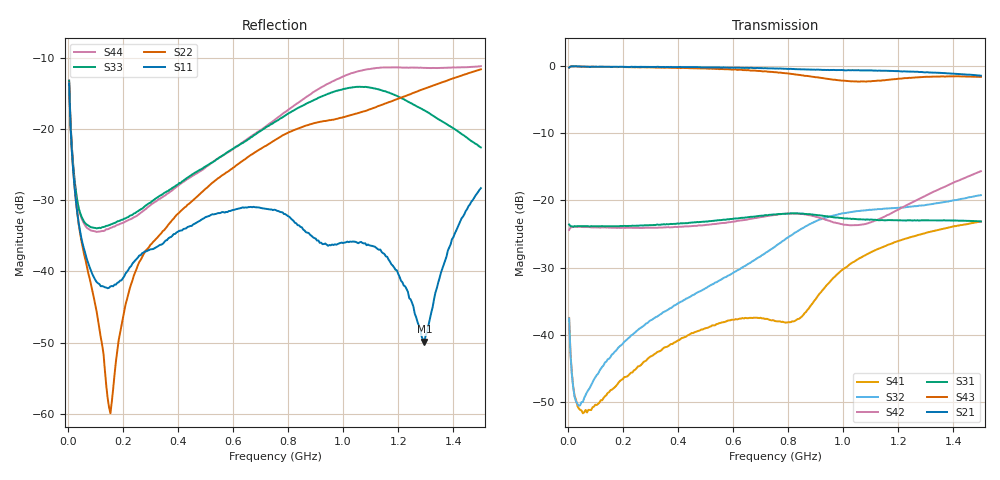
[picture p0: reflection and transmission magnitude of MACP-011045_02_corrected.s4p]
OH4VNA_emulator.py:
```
"""
OH4VNA_emulator.py

Assumptions:
 - Coupler port mapping:
     Port 1 = Input
     Port 2 = Output
     Port 3 = Coupled
     Port 4 = Isolated
 - Uses a real coupler touchstone file if supplied (path COUPLER_S4P)
"""
import numpy as np
import skrf as rf
import matplotlib.pyplot as plt
import pandas as pd

# ---------- USER CONFIG ----------

USE_CALIBRATION = True   # Set to True to enable OSL calibration
path_coupler = "Sprams MACP-011045_corrected\MACP-011045_02_corrected.s4p"
amp_gain_db = 20
dl_loss_db = -30
#ideal_coupler
fstart = 5e6      
fstop = 1500e6    
coupling_db = 23 
mydut = 6   # Select DUT example (1 to 6)

# ------DUT Examples----------
df = pd.read_csv("dut_gamma_arrays.csv")
match mydut:
    case 1:
        # DUT 1 — Mild reflection (|Γ| = 0.5, phase = –60° × 2)
        theta_rad = np.deg2rad(60)
        gamma_dut = 0.5 * np.exp(-1j * 2 * theta_rad)
    case 2:
        #DUT 2 — Strong reflection, inverted (|Γ| = 0.9, phase = +45° × 2)
        theta_rad = np.deg2rad(45)
        gamma_dut = -0.9 * np.exp(-1j * 2 * theta_rad)
    case 3: 
        #DUT 3 — Low reflection (|Γ| = 0.2, phase = 120° × 2)
        theta_rad = np.deg2rad(120)
        gamma_dut = 0.2 * np.exp(-1j * 2 * theta_rad)
    case 4:
        #DUT 4 — mild-dispersion DUT
        gamma_dut = df["gammaA_real"].values + 1j * df["gammaA_imag"].values
    case 5:
        #DUT 5 — strong phase-rotation DUT
        gamma_dut = df["gammaB_real"].values + 1j * df["gammaB_imag"].values
    case 6:
        #DUT 6 — weak reflection with long delay
        gamma_dut = df["gammaC_real"].values + 1j * df["gammaC_imag"].values
    case _:
        raise ValueError("Invalid \"mydut\" value. Must be 1 to 6.")


# ---------- Definition Loading ----------
def create_link(frequency, gain_db, name="Link"):
    """
    Creates a unilateral 2-port network
    """
    ntwk = rf.Network(frequency=frequency, name=name)
    
    mag = 10**(gain_db / 20.0)
    s_matrix = np.zeros((len(frequency), 2, 2), dtype=complex)
    s_matrix[:, 1, 0] = mag  # S21 (Port 1 -> Port 2)
    
    ntwk.s = s_matrix
    return ntwk

def load_coupler(filename):
    try:
        # try loading the real coupler file
        coupler = rf.Network(filename)
        print("Loaded coupler file:", filename)
        return coupler

    except Exception as e:
        print("Could not load coupler file:", filename)
        print("Reason:", e)
        print("→ Using IDEAL coupler instead.")

        # Create an ideal 4-port coupler with specified coupling
        freq = rf.Frequency(fstart, fstop, 300, 'MHz')
        N = len(freq)
        s = np.zeros((N, 4, 4), dtype=complex)

        C = 10 ** (-coupling_db/20) 
        D = 10 ** (-30/20)   # directivity

        # Ports: 0 = input  1 = through   2 = coupled    3 = isolated

        for i in range(N):
            s[i] = np.array([
                [0,     1,     C,     D],
                [1,     0,     D,     C],
                [C,     D,     0,     1],
                [D,     C,     1,     0]
            ])

        ideal = rf.Network(frequency=freq, s=s, name="ideal_coupler")
        return ideal

def create_ideal_1port(freq, reflection_coeff, name):
    if np.isscalar(reflection_coeff):
        gamma = np.full(len(freq), reflection_coeff, dtype=complex)
    else:
        gamma = np.asarray(reflection_coeff)

    # 1-port only
    s = gamma[:, None, None]   # (N,1,1)
    return rf.Network(frequency=freq, s=s, z0=50, name=name)

def measure_dut(freq, dut):

    # External ports (VNA ports)
    P0 = rf.Circuit.Port(freq, z0=50, name="P0")   #  port 1
    P1 = rf.Circuit.Port(freq, z0=50, name="P1")   #  port 2

    # Termination for ISO port
    termination = rf.Network(
        frequency=freq,
        s=np.zeros((len(freq), 1, 1), dtype=complex),
        z0=50,
        name="IsoMatch"
    )

    # Build circuit
    circuit = rf.Circuit([
        [(P0, 0),          (downlink_net, 0)],   # VNA→Downlink
        [(downlink_net, 1),(coupler_net, 0)],    # Downlink→Coupler IN
        [(coupler_net, 1), (dut, 0)],            # Coupler THRU → DUT
        [(coupler_net, 2), (uplink_net, 0)],     # Coupler COUPLED → Uplink
        [(uplink_net, 1),  (P1, 0)],             # Uplink → VNA Port 2
        [(coupler_net, 3), (termination, 0)]     # ISO → matched load
    ])

    # Result is a 2-port network
    res = circuit.network

    # Extract VNA S21 (P1←P0)
    meas = rf.Network(frequency=freq, name=f"Meas_{dut.name}")
    meas.s = res.s[:, 1, 0][:, None, None]

    return meas

# ---------- Main ----------
if __name__ == "__main__":

    coupler_net = load_coupler(path_coupler)
    freq = coupler_net.frequency
    print(len(freq), "frequency points loaded.")

    downlink_net = create_link(freq, gain_db=dl_loss_db, name="Downlink")
    uplink_net = create_link(freq, gain_db=amp_gain_db, name="Uplink")
    S_open = np.ones((len(freq),1,1), dtype=complex)
    C_open = rf.Network(frequency=freq, s=S_open, name="Open")
    S_short = -np.ones((len(freq),1,1), dtype=complex)
    C_short = rf.Network(frequency=freq, s=S_short, name="Short")
    S_load = np.zeros((len(freq),1,1), dtype=complex)
    C_load = rf.Network(frequency=freq, s=S_load, name="Load")
    dut_antenna = create_ideal_1port(freq, gamma_dut, "DUT_Antenna")

    print("--- Simulating Measurements ---")

    meas_open  = measure_dut(freq,C_open)
    meas_short = measure_dut(freq,C_short)
    meas_load  = measure_dut(freq,C_load)
    meas_dut   = measure_dut(freq,dut_antenna)
    
    print("Measurements Complete.")
    
    #Perform Calibration

    if USE_CALIBRATION:
        print("Running OSL calibration...")
        cal = rf.OnePort(
            ideals=[C_open, C_short, C_load],
            measured=[meas_open, meas_short, meas_load],
            name="Optical_System_Cal"
        )
        cal.run()

        dut_corrected = cal.apply_cal(meas_dut)
        dut_corrected.name = "Calibrated_Antenna"
    else:
        print("Calibration DISABLED → using raw measurement.")
        dut_corrected = meas_dut.copy()
        dut_corrected.name = "Uncalibrated_Antenna"

    print("Calibration Complete.")
    

    fig, (ax1, ax2) = plt.subplots(1, 2, figsize=(12, 5))
    
    # Plot 1: Raw System Response (Magnitude)
    # Note: The total loop gain/loss is approx. -30dB (Downlink) - 23dB (Coupling) + 20dB (Uplink) = -33dB
    ax1.set_title("Raw Receiver Signal (Coupled S21)")
    meas_open.plot_s_db(ax=ax1, label="Meas Open")
    meas_short.plot_s_db(ax=ax1, label="Meas Short")
    meas_load.plot_s_db(ax=ax1, label="Meas Load")
    meas_dut.plot_s_db(ax=ax1, label="Meas DUT")
    ax1.grid(True)
    
    # Plot 2: Calibrated DUT vs Ideal
    ax2.set_title("Calibrated DUT S11 (Smith Chart)")
    dut_corrected.plot_s_smith(m=0, n=0, ax=ax2, label='Calibrated', marker='o', markersize=4, linestyle='None')
    dut_antenna.plot_s_smith(m=0, n=0, ax=ax2, label='Ideal', marker='x', markersize=6, linestyle='None')    
    ax2.grid(True)
    
    plt.tight_layout()
    plt.show()
```
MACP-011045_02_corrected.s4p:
!Agilent Technologies,E5071B,JP1KK00267,A.09.10
!Date: Fri Sep 22 11:04:20 2017
!Data & Calibration Information:
!Freq	S11:SOLT4(ON)	S12:SOLT4(ON)	S13:SOLT4(ON)	S14:SOLT4(ON)
!	S21:SOLT4(ON)	S22:SOLT4(ON)	S23:SOLT4(ON)	S24:SOLT4(ON)
!	S31:SOLT4(ON)	S32:SOLT4(ON)	S33:SOLT4(ON)	S34:SOLT4(ON)
!	S41:SOLT4(ON)	S42:SOLT4(ON)	S43:SOLT4(ON)	S44:SOLT4(ON)
! "David Morgan-soldered to Test PCB SM1, calibration OSLT PCB 1000029771 Edge launch SMA connectors, port 1-pin1,port 2-pin6,port 3-pin4, port 4-pin3 ENA E5071B"
! Created with skrf 1.8.0 (http://scikit-rf.org).
# Hz S RI R 50.0
!freq ReS11 ImS11 ReS12 ImS12 ReS13 ImS13
! ReS14 ImS14
! ReS21 ImS21 ReS22 ImS22 ReS23 ImS23
! ReS24 ImS24
! ReS31 ImS31 ReS32 ImS32 ReS33 ImS33
! ReS34 ImS34
! ReS41 ImS41 ReS42 ImS42 ReS43 ImS43
! ReS44 ImS44
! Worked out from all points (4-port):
!   300 points, 5 MHz to 1.5 GHz, reference 50 ohm
!   strongest paths, dB at 5 MHz, 380 MHz, 755 MHz, 1.13 GHz, 1.5 GHz:
!     S21: -0.2, -0.2, -0.4, -0.7, -1.4
!     S43: -0.2, -0.3, -0.9, -2.2, -1.6
!     S31: -23.6, -23.5, -22.1, -22.9, -23.1
!     S42: -24.4, -24.0, -22.1, -22.8, -15.6
!     S32: -37.5, -35.9, -26.8, -21.3, -19.2
!     S41: -37.5, -41.4, -38.0, -27.2, -23.1
!   lowest |S11| = -49.9 dB at 1.295 GHz (marker M1), VSWR 1.01, Z = 49.8 + j0.276 ohm
!   |S11| at or under -10 dB: start of sweep to end of sweep
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5000000  -0.047 0.2035  0.9533 0.2003  -0.0662 -0.000968  -0.00705 0.0114
         0.9531 0.2012  -0.043 0.2062  -0.00461 0.0125  0.0548 0.0256
         -0.0663 -0.00108  -0.00462 0.0125  -0.0488 0.2119  0.9495 0.2073
         -0.00706 0.0114  0.0548 0.0256  0.95 0.2078  -0.048 0.2135
1.295e9  -0.00163 0.00277  0.639 -0.629  0.068 0.0185  0.0386 0.0418
         0.6372 -0.6315  0.0659 -0.1798  0.083 0.0391  0.0618 0.0886
         0.0688 0.0183  0.0833 0.0391  -0.0712 -0.1143  0.6178 -0.5524
         0.0388 0.0417  0.0608 0.0884  0.6211 -0.5491  0.1393 -0.2285
1.5e9  0.0326 0.0202  0.5201 -0.6662  0.0669 -0.0169  0.0666 0.0192
       0.5205 -0.6695  0.0597 -0.2546  0.1059 0.0257  0.1015 0.131
       0.0675 -0.0177  0.1065 0.0255  -0.0589 -0.0448  0.5198 -0.6455
       0.0669 0.0195  0.1004 0.131  0.5227 -0.6448  0.093 -0.2589
